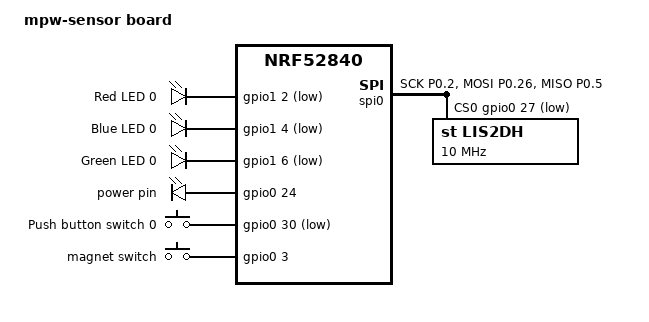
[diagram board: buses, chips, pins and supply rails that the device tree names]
// Copyright (c) 2023 Nordic Semiconductor ASA
// SPDX-License-Identifier: Apache-2.0

/dts-v1/;
#include <nordic/nrf52840_qiaa.dtsi>

/ {
	model = "mpw-sensor board";
	compatible = "protopaja,mpw-sensor-board";

	chosen {
		zephyr,sram = &sram0;
		zephyr,flash = &flash0;
		zephyr,code-partition = &slot0_partition;
		zephyr,ieee802154 = &ieee802154;
	};

	leds {
		compatible = "gpio-leds";
		led0: led_0 {
			gpios = <&gpio1 2 GPIO_ACTIVE_LOW>;
			label = "Red LED 0";
		}; 
		led1: led_1 {
			gpios = <&gpio1 4 GPIO_ACTIVE_LOW>;
			label = "Blue LED 0";
		}; 
		led2: led_2 {
			gpios = <&gpio1 6 GPIO_ACTIVE_LOW>;
			label = "Green LED 0";
		};

		/* led3 is actually the power pin for the accelerometer */
		led3: led_3 {
			gpios = <&gpio0 24 GPIO_ACTIVE_HIGH>;
			label = "power pin";
		};
	};

	buttons {
		compatible = "gpio-keys";
		button0: button_0 {
			gpios = <&gpio0 30 (GPIO_PULL_UP | GPIO_ACTIVE_LOW)>;
			label = "Push button switch 0";
		};
		
		/* button1 is the reed switch */
		button1: button_1 {
			gpios = <&gpio0 3 (GPIO_PULL_UP | GPIO_ACTIVE_HIGH)>;
			label = "magnet switch";
		};
		
	};

	aliases {
		led0 = &led0;
		led1 = &led1;
		led2 = &led2;
		pwr = &led3;
		sw0 = &button0;
		sw1 = &button1;
		mcuboot-button0 = &button0;
		watchdog0 = &wdt0;
	};
};


/* ### PIN CONTROL CONFIGURATION ### */
 
&pinctrl {

	spi0_default: spi0_default {
		group1 {
			psels = <NRF_PSEL(SPIM_SCK, 0, 2)>,
				<NRF_PSEL(SPIM_MOSI, 0, 26)>,
				<NRF_PSEL(SPIM_MISO, 0, 5)>;
		};
	};

	spi0_sleep: spi0_sleep {
		group1 {
			psels = <NRF_PSEL(SPIM_SCK, 0, 2)>,
				<NRF_PSEL(SPIM_MOSI, 0, 26)>,
				<NRF_PSEL(SPIM_MISO, 0, 5)>;
			low-power-enable;
		};
	};
	
};

/* ### OTHER CONFIGURATION ### */

&gpiote {
	status = "okay";
};

&gpio0 {
	status = "okay";
};

&gpio1 {
	status = "okay";
};

&spi0 {
	compatible = "nordic,nrf-spi";
	status = "okay";
	pinctrl-0 = <&spi0_default>;
	pinctrl-1 = <&spi0_sleep>;
	pinctrl-names = "default", "sleep";
	cs-gpios = <&gpio0 27 GPIO_ACTIVE_LOW>;
    accelerometer: lis2dh@0 {
        compatible = "st,lis2dh";
        reg = <0>;
        spi-max-frequency = <10000000>;
        label = "lis2dh";
	};
};

&flash0 {
	partitions {
		compatible = "fixed-partitions";
		#address-cells = <1>;
		#size-cells = <1>;

		boot_partition: partition@0 {
			label = "mcuboot";
			reg = <0x0 0xc000>;
		};
		slot0_partition: partition@c000 {
			label = "image-0";
			reg = <0xc000 0x72000>;
		};
		slot1_partition: partition@7e000 {
			label = "image-1";
			reg = <0x7e000 0x72000>;
		};
		scratch_partition: partition@f0000 {
			label = "image-scratch";
			reg = <0xf0000 0xa000>;
		};
		storage_partition: partition@fa000 {
			label = "storage";
			reg = <0xfa000 0x6000>;
		};
	};
};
